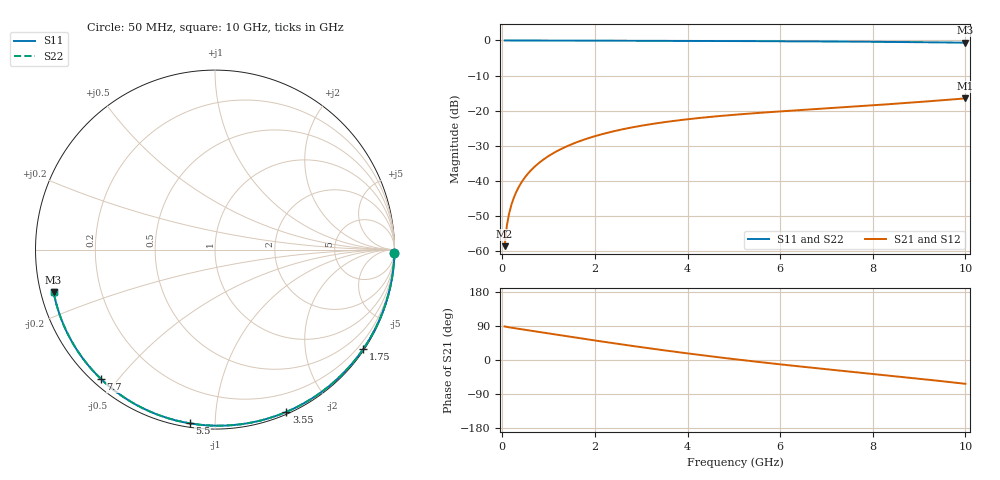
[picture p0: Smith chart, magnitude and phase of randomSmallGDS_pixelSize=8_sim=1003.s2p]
! freq	dB(S11)	phase(S11)	dB(S12)	phase(S12)
!  dB(S21)	phase(S21)	dB(S22)	phase(S22)
!S-par simulation data
#  GHz  S  DB  R 50
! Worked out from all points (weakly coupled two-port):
!   200 points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, 50 MHz to 10 GHz, reference 50 ohm
!   highest |S21| = -16.48 dB at 10 GHz (marker M1); lowest = -58.5 dB at 50 MHz (marker M2)
!   lowest |S11| = -0.6 dB at 10 GHz (marker M3), VSWR 27.51, Z = 1.85 - j6.46 ohm
!   |S11| at or under -10 dB: nowhere
!   |S22| runs from -0.6 to 0.0 dB; largest |S21 - S12| = 0
!   S11 on the Smith chart (normalised r, x): 50 MHz: open; 1.75 GHz: 0.03, -3.30; 3.55 GHz: 0.02, -1.53; 5.5 GHz: 0.02, -0.86; 7.7 GHz: 0.02, -0.45; 10 GHz: 0.04, -0.13
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0.05  -0.00 -1.0  -58.49 88.6  -58.49 88.6  -0.00 -1.0
0.1  -0.00 -2.0  -52.51 87.3  -52.51 87.3  -0.00 -2.0
0.15  -0.00 -3.0  -49.03 86.2  -49.03 86.2  -0.00 -3.0
0.2  -0.00 -3.9  -46.57 85.2  -46.57 85.2  -0.00 -3.9
0.25  -0.00 -4.9  -44.67 84.2  -44.67 84.2  -0.00 -4.9
0.35  -0.01 -6.9  -41.80 82.4  -41.80 82.4  -0.01 -6.9
0.5  -0.01 -9.8  -38.75 79.6  -38.75 79.6  -0.01 -9.8
0.7  -0.02 -13.7  -35.87 75.9  -35.87 75.9  -0.02 -13.7
1  -0.03 -19.5  -32.85 70.2  -32.85 70.2  -0.03 -19.5
1.35  -0.04 -26.2  -30.36 63.6  -30.36 63.6  -0.04 -26.2
1.75  -0.05 -33.8  -28.26 56.1  -28.26 56.1  -0.05 -33.8
2.6  -0.08 -49.4  -25.25 40.8  -25.25 40.8  -0.08 -49.4
3.4  -0.10 -63.7  -23.41 27.1  -23.41 27.1  -0.10 -63.7
3.55  -0.11 -66.3  -23.14 24.7  -23.14 24.7  -0.11 -66.3
4.3  -0.14 -79.0  -21.98 12.8  -21.98 12.8  -0.14 -79.0
5.05  -0.17 -91.2  -21.09 1.7  -21.09 1.7  -0.17 -91.2
5.5  -0.19 -98.3  -20.63 -4.7  -20.63 -4.7  -0.19 -98.3
6.7  -0.27 -116.7  -19.57 -20.5  -19.57 -20.5  -0.27 -116.7
7.7  -0.35 -131.4  -18.71 -33.0  -18.71 -33.0  -0.35 -131.4
8.35  -0.41 -140.9  -18.12 -41.2  -18.12 -41.2  -0.41 -140.9
9.2  -0.52 -153.3  -17.30 -52.0  -17.30 -52.0  -0.52 -153.3
10  -0.63 -165.3  -16.48 -62.8  -16.48 -62.8  -0.63 -165.2
